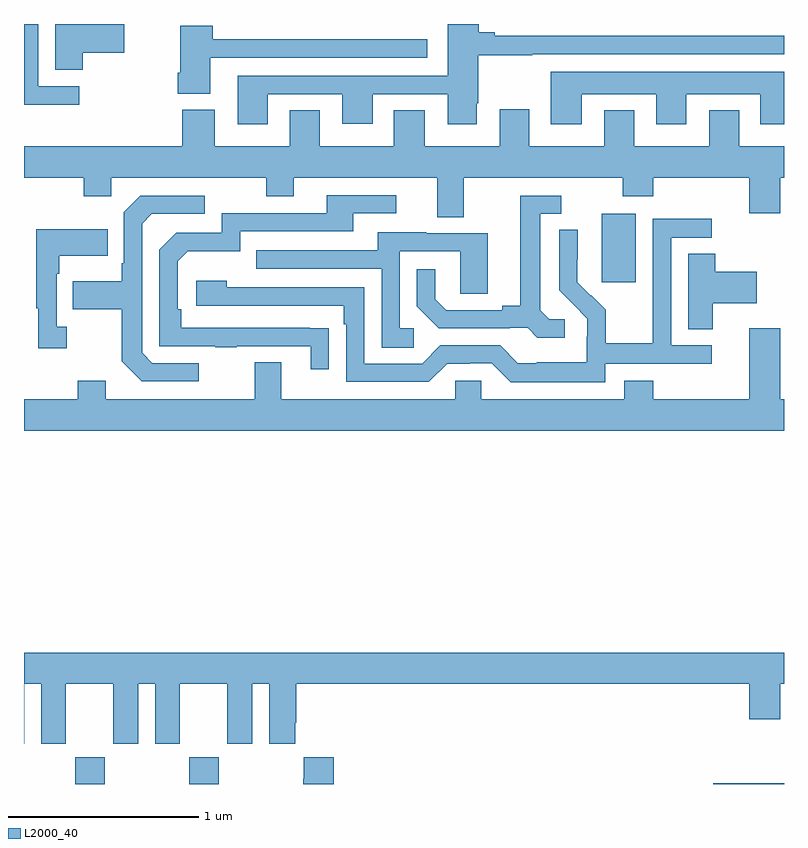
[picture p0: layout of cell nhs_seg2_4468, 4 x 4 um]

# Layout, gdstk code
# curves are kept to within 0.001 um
import gdstk
lib = gdstk.Library(unit=1e-6, precision=1e-09)
def R(c, l, rs):  # rectangles x0, y0, x1, y1
    for r in rs: c.add(gdstk.rectangle(r[:2], r[2:], *l))
def P(c, l, *ps):  # polygons
    for p in ps: c.add(gdstk.Polygon(p, *l))
L2000_40 = (2000, 40)

nhs_seg2_4468 = lib.new_cell('nhs_seg2_4468')
R(nhs_seg2_4468, L2000_40, [(353.269,621.8,353.424,621.94), (353.869,621.8,354.024,621.94), (356.627,621.8,357,621.805), (356.042,624.441,356.221,624.802)])
P(nhs_seg2_4468, L2000_40, [(353.29,625.473),(353.076,625.473),(353.076,625.8),(353,625.8),(353,625.375),(353.29,625.375)],
  [(353.309,625.649),(353.527,625.649),(353.527,625.8),(353.165,625.8),(353.165,625.558),(353.309,625.558)],
  [(354.283,625.431),(354.674,625.431),(354.674,625.275),(354.835,625.275),(354.835,625.431),(355.229,625.431),(355.229,625.272),(355.384,625.272),(355.384,625.384),(355.392,625.384),(355.392,625.636),(355.676,625.636),(355.676,625.641),(357,625.641),(357,625.738),(355.477,625.738),(355.477,625.757),(355.394,625.757),(355.394,625.8),(355.229,625.8),(355.229,625.527),(354.125,625.527),(354.125,625.272),(354.283,625.272)],
  [(353.98,625.623),(355.123,625.623),(355.123,625.721),(353.993,625.721),(353.993,625.792),(353.822,625.792),(353.822,625.543),(353.81,625.543),(353.81,625.433),(353.98,625.433)],
  [(355.936,625.43),(356.327,625.43),(356.327,625.272),(356.485,625.272),(356.485,625.43),(356.876,625.43),(356.876,625.272),(357,625.272),(357,625.549),(355.772,625.549),(355.772,625.272),(355.936,625.272)],
  [(355.315,624.992),(356.152,624.992),(356.152,624.893),(356.312,624.893),(356.312,624.992),(356.816,624.992),(356.816,624.804),(356.98,624.804),(356.98,624.992),(357,624.992),(357,625.156),(356.764,625.156),(356.764,625.345),(356.606,625.345),(356.606,625.156),(356.212,625.156),(356.212,625.345),(356.054,625.345),(356.054,625.156),(355.66,625.156),(355.66,625.351),(355.505,625.351),(355.505,625.156),(355.108,625.156),(355.108,625.346),(354.947,625.346),(354.947,625.156),(354.556,625.156),(354.556,625.346),(354.398,625.346),(354.398,625.156),(354.004,625.156),(354.004,625.348),(353.834,625.348),(353.834,625.156),(353,625.156),(353,624.992),(353.314,624.992),(353.314,624.893),(353.46,624.893),(353.46,624.992),(354.274,624.992),(354.274,624.893),(354.421,624.893),(354.421,624.992),(355.175,624.992),(355.175,624.784),(355.315,624.784)],
  [(354.605,624.2),(353.828,624.201),(353.828,624.298),(353.808,624.298),(353.808,624.552),(353.861,624.605),(354.138,624.605),(354.138,624.708),(354.733,624.708),(354.733,624.804),(354.958,624.804),(354.958,624.9),(354.593,624.9),(354.593,624.804),(354.042,624.804),(354.042,624.702),(353.802,624.702),(353.712,624.612),(353.712,624.105),(354.007,624.105),(354.007,624.1),(354.119,624.1),(354.119,624.105),(354.509,624.105),(354.509,623.982),(354.605,623.982)],
  [(355.846,624.246),(355.764,624.246),(355.717,624.293),(355.717,624.801),(355.828,624.801),(355.828,624.897),(355.613,624.897),(355.613,624.317),(355.517,624.317),(355.517,624.294),(355.222,624.294),(355.165,624.351),(355.165,624.508),(355.068,624.508),(355.068,624.314),(355.184,624.198),(355.556,624.198),(355.556,624.201),(355.65,624.201),(355.702,624.149),(355.846,624.149)],
  [(353.92,624.015),(353.676,624.015),(353.622,624.069),(353.622,624.75),(353.673,624.801),(353.95,624.801),(353.95,624.897),(353.613,624.897),(353.526,624.81),(353.526,624.541),(353.514,624.541),(353.514,624.445),(353.257,624.445),(353.257,624.298),(353.514,624.298),(353.514,624.025),(353.619,623.919),(353.92,623.919)],
  [(356.058,624.012),(356.62,624.012),(356.62,624.108),(356.406,624.108),(356.406,624.675),(356.62,624.675),(356.62,624.774),(356.31,624.774),(356.31,624.344),(356.308,624.344),(356.308,624.121),(356.063,624.121),(356.063,624.295),(355.986,624.372),(355.983,624.369),(355.913,624.44),(355.914,624.716),(355.818,624.716),(355.818,624.398),(355.964,624.25),(355.964,624.153),(355.962,624.153),(355.962,624.019),(355.699,624.019),(355.699,624.015),(355.599,624.015),(355.506,624.108),(355.191,624.108),(355.095,624.012),(354.792,624.012),(354.792,624.414),(354.068,624.414),(354.068,624.448),(353.907,624.448),(353.907,624.318),(354.683,624.318),(354.683,624.221),(354.696,624.221),(354.696,623.916),(355.131,623.916),(355.227,624.012),(355.346,624.012),(355.346,624.015),(355.461,624.015),(355.561,623.915),(356.058,623.915)],
  [(353.224,624.206),(353.172,624.206),(353.172,624.485),(353.185,624.485),(353.185,624.581),(353.441,624.581),(353.441,624.721),(353.064,624.721),(353.064,624.305),(353.075,624.305),(353.075,624.093),(353.224,624.093)],
  [(355.051,624.198),(354.978,624.198),(354.978,624.603),(355.296,624.603),(355.296,624.379),(355.441,624.379),(355.441,624.699),(355.117,624.699),(355.117,624.703),(354.863,624.703),(354.863,624.609),(354.223,624.609),(354.223,624.513),(354.882,624.513),(354.882,624.097),(355.051,624.097)],
  [(356.626,624.329),(356.857,624.329),(356.857,624.495),(356.639,624.495),(356.639,624.59),(356.495,624.59),(356.495,624.193),(356.626,624.193)],
  [(357,623.824),(356.98,623.824),(356.98,624.199),(356.816,624.199),(356.816,623.824),(356.312,623.824),(356.312,623.923),(356.159,623.923),(356.159,623.824),(355.407,623.824),(355.407,623.922),(355.269,623.922),(355.269,623.824),(354.355,623.824),(354.355,624.019),(354.215,624.019),(354.215,623.824),(353.431,623.824),(353.431,623.923),(353.284,623.923),(353.284,623.824),(353,623.824),(353,623.66),(357,623.66)],
  [(353.002,622.328),(353.09,622.328),(353.09,622.011),(353.221,622.011),(353.221,622.328),(353.471,622.328),(353.471,622.011),(353.602,622.011),(353.602,622.328),(353.69,622.328),(353.69,622.011),(353.821,622.011),(353.821,622.328),(354.071,622.328),(354.071,622.011),(354.202,622.011),(354.202,622.328),(354.29,622.328),(354.29,622.011),(354.427,622.011),(354.427,622.123),(354.434,622.123),(354.434,622.328),(356.816,622.328),(356.816,622.14),(356.98,622.14),(356.98,622.328),(357,622.328),(357,622.492),(353,622.492),(353,622.011),(353.002,622.011)],
  [(354.629,621.94),(354.473,621.94),(354.473,621.827),(354.469,621.827),(354.469,621.8),(354.629,621.8)])

lib.write_gds('nhs_seg2_4468.gds')
